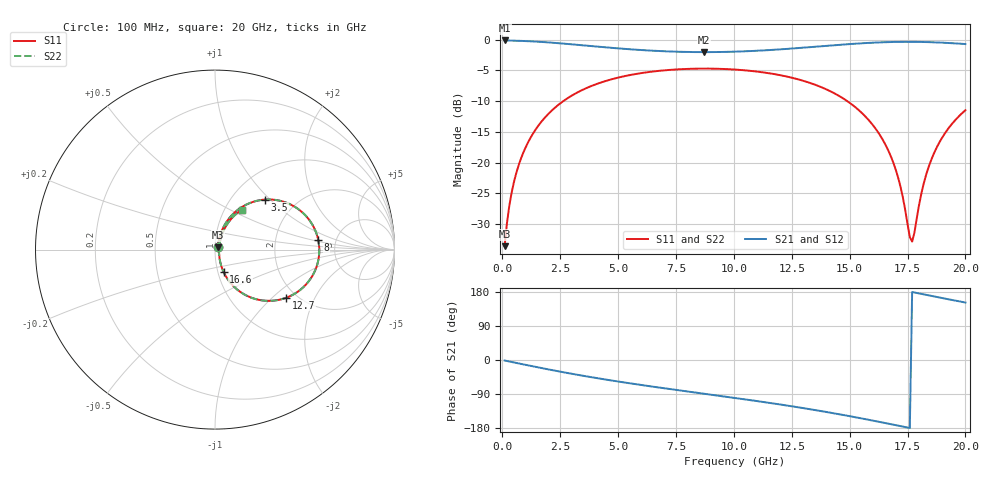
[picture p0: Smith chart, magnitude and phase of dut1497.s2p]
! Touchstone file exported from HFSS 2026.1.0
!  File:  C:/ffzhzh/LocalFiles/Ansys_Project_Files/temp_train_TSV_RDL_1497_1783365068_50076.aedt
!  Generated:  03:22:17 AM Jul  7, 2026
!  Design:  TSV_RDL
!  Project:  temp_train_TSV_RDL_1497_1783365068_50076
! Variables:
!  h_bsmrdl = 5.19um
!  h_ox = 20um
!  h_rdl = 5um
!  h_sub = 66.67um
!  h_tmrdl = 4.27um
!  h_tsv = 66.67um
!  h_via = 3um
!  l_bsmrdl = 149.08um
!  l_sub = 3560.54um
!  l_tmrdl = 643.27um
!  m_sub = 200um
!  pitch = 57.43um
!  r_tsv = 3.24um
!  s_tmrdl = 10um
!  w_bsmrdl = 20.42um
!  w_sub = 500um
!  w_tmrdl = 26.32um
!  x_tsv_center1 = 656.43um
!  x_tsv_center2 = 825.93um
!  x_tsv_center3 = 1495.52um
!  x_tsv_center4 = 1665.02um
!  x_tsv_center5 = 2334.61um
!  x_tsv_center6 = 2504.11um
# GHz S MA R 50.000000
! Terminal data exported
! Port[1] = TM_RDL1_1_T1
! Port[2] = TM_RDL5_1_T1
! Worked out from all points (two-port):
!   200 points, 100 MHz to 20 GHz, reference 50 ohm
!   highest |S21| = -0.14 dB at 100 MHz (marker M1); lowest = -2.0 dB at 8.7 GHz (marker M2)
!   |S21| within 3 dB of the highest: start of sweep to end of sweep
!   lowest |S11| = -33.6 dB at 100 MHz (marker M3), VSWR 1.04, Z = 51.6 + j1.42 ohm
!   |S11| at or under -10 dB: start of sweep to 2.637 GHz; 14.9 GHz to end of sweep
!   |S22| runs from -33.6 to -4.7 dB; largest |S21 - S12| = 1.8e-14
!   S11 on the Smith chart (normalised r, x): 100 MHz: 1.03, +0.03; 3.5 GHz: 1.41, +0.93; 8 GHz: 3.64, +0.58; 12.7 GHz: 1.77, -1.23; 16.6 GHz: 1.07, -0.27; 20 GHz: 1.20, +0.57
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0.1  0.02089 41.2  0.9845 -1.3  0.9845 -1.3  0.02089 41.2
! Gamma 0 0 0 0
! Port Impedance 50 0 50 0
0.3  0.04413 64.0  0.9826 -3.9  0.9826 -3.9  0.04413 64.0
0.5  0.06907 69.1  0.9805 -6.4  0.9805 -6.4  0.06907 69.1
1.1  0.1444 68.8  0.9715 -14.0  0.9715 -14.0  0.1444 68.8
2.1  0.261 59.6  0.946 -26.1  0.946 -26.1  0.261 59.6
3.5  0.3929 45.2  0.8983 -41.8  0.8983 -41.8  0.3929 45.2
6.8  0.558 15.1  0.8071 -72.9  0.8071 -72.9  0.558 15.1
8  0.5778 5.3  0.7936 -83.1  0.7936 -83.1  0.5778 5.3
8.7  0.5811 -0.4  0.7913 -88.9  0.7913 -88.9  0.5811 -0.4
10.1  0.57 -11.6  0.7988 -100.6  0.7988 -100.6  0.57 -11.7
12.7  0.4796 -34.0  0.8514 -124.0  0.8514 -124.0  0.4796 -34.0
13.4  0.437 -40.5  0.8718 -131.0  0.8718 -131.0  0.437 -40.5
15.3  0.2767 -58.9  0.928 -151.6  0.928 -151.6  0.2767 -58.9
16.6  0.1335 -69.0  0.954 -167.1  0.954 -167.1  0.1335 -69.1
16.7  0.1218 -69.2  0.9553 -168.3  0.9553 -168.3  0.1218 -69.3
17.2  0.0633 -65.0  0.9593 -174.5  0.9593 -174.5  0.06322 -65.1
17.6  0.02473 -24.5  0.96 -179.4  0.96 -179.4  0.02456 -24.6
17.7  0.02277 4.0  0.9598 179.3  0.9598 179.3  0.02259 4.1
18.2  0.06751 62.4  0.9566 173.1  0.9566 173.1  0.06746 62.5
18.6  0.1139 65.7  0.9517 168.2  0.9517 168.2  0.1139 65.8
19.2  0.1822 63.0  0.9406 161.0  0.9406 161.0  0.1822 63.0
20  0.2665 56.1  0.9205 151.7  0.9205 151.7  0.2665 56.2
